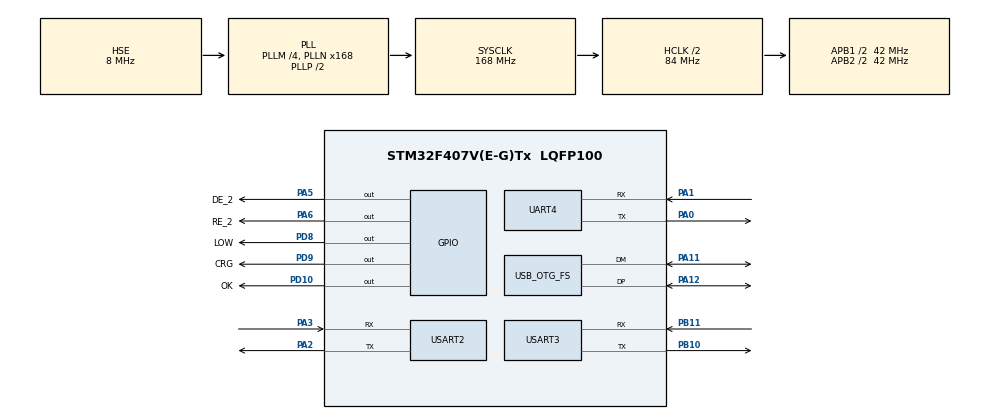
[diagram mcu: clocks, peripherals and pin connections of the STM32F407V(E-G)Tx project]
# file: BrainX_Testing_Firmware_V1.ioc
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Dma.Request0=UART4_RX
Dma.Request1=USART2_RX
Dma.UART4_RX.0.Direction=DMA_PERIPH_TO_MEMORY
Dma.UART4_RX.0.FIFOMode=DMA_FIFOMODE_DISABLE
Dma.UART4_RX.0.Instance=DMA1_Stream2
Dma.UART4_RX.0.MemDataAlignment=DMA_MDATAALIGN_BYTE
Dma.UART4_RX.0.MemInc=DMA_MINC_ENABLE
Dma.UART4_RX.0.Mode=DMA_NORMAL
Dma.UART4_RX.0.PeriphDataAlignment=DMA_PDATAALIGN_BYTE
Dma.UART4_RX.0.PeriphInc=DMA_PINC_DISABLE
Dma.UART4_RX.0.Priority=DMA_PRIORITY_LOW
Dma.USART2_RX.1.Direction=DMA_PERIPH_TO_MEMORY
Dma.USART2_RX.1.FIFOMode=DMA_FIFOMODE_DISABLE
Dma.USART2_RX.1.Instance=DMA1_Stream5
Dma.USART2_RX.1.MemDataAlignment=DMA_MDATAALIGN_BYTE
Dma.USART2_RX.1.MemInc=DMA_MINC_ENABLE
Dma.USART2_RX.1.Mode=DMA_NORMAL
Dma.USART2_RX.1.PeriphDataAlignment=DMA_PDATAALIGN_BYTE
Dma.USART2_RX.1.PeriphInc=DMA_PINC_DISABLE
Dma.USART2_RX.1.Priority=DMA_PRIORITY_LOW
Mcu.Family=STM32F4
Mcu.Name=STM32F407V(E-G)Tx
Mcu.Package=LQFP100
NVIC.DMA1_Stream2_IRQn=true\:0\:0\:false\:false\:true\:false\:true\:true
NVIC.DMA1_Stream5_IRQn=true\:0\:0\:false\:false\:true\:false\:true\:true
NVIC.OTG_FS_IRQn=true\:0\:0\:false\:false\:true\:false\:true\:true
NVIC.PriorityGroup=NVIC_PRIORITYGROUP_4
NVIC.TIM1_BRK_TIM9_IRQn=true\:0\:0\:false\:false\:true\:true\:true\:true
NVIC.TIM1_UP_TIM10_IRQn=true\:0\:0\:false\:false\:true\:true\:true\:true
NVIC.UART4_IRQn=true\:0\:0\:false\:false\:true\:true\:true\:true
PA0-WKUP.Mode=Asynchronous
PA0-WKUP.Signal=UART4_TX
PA1.Mode=Asynchronous
PA1.Signal=UART4_RX
PA11.Mode=Device_Only
PA11.Signal=USB_OTG_FS_DM
PA12.Mode=Device_Only
PA12.Signal=USB_OTG_FS_DP
PA13.Mode=Serial_Wire
PA13.Signal=SYS_JTMS-SWDIO
PA14.Mode=Serial_Wire
PA14.Signal=SYS_JTCK-SWCLK
PA2.Mode=Asynchronous
PA2.Signal=USART2_TX
PA3.Mode=Asynchronous
PA3.Signal=USART2_RX
PA5.GPIO_Label=DE_2
PA5.Signal=GPIO_Output
PA6.GPIO_Label=RE_2
PA6.PinState=GPIO_PIN_SET
PA6.Signal=GPIO_Output
PB10.Mode=Asynchronous
PB10.Signal=USART3_TX
PB11.Mode=Asynchronous
PB11.Signal=USART3_RX
PD10.GPIO_Label=OK
PD10.PinState=GPIO_PIN_SET
PD10.Signal=GPIO_Output
PD8.GPIO_Label=LOW
PD8.GPIO_ModeDefaultOutputPP=GPIO_MODE_OUTPUT_OD
PD8.GPIO_PuPd=GPIO_NOPULL
PD8.GPIO_Speed=GPIO_SPEED_FREQ_LOW
PD8.PinState=GPIO_PIN_SET
PD8.Signal=GPIO_Output
PD9.GPIO_Label=CRG
PD9.GPIO_ModeDefaultOutputPP=GPIO_MODE_OUTPUT_OD
PD9.GPIO_PuPd=GPIO_NOPULL
PD9.PinState=GPIO_PIN_SET
PD9.Signal=GPIO_Output
PH0-OSC_IN.Mode=HSE-External-Oscillator
PH0-OSC_IN.Signal=RCC_OSC_IN
PH1-OSC_OUT.Mode=HSE-External-Oscillator
PH1-OSC_OUT.Signal=RCC_OSC_OUT
ProjectManager.HeapSize=0x200
ProjectManager.StackSize=0x400
ProjectManager.TargetToolchain=STM32CubeIDE
RCC.48MHZClocksFreq_Value=48000000
RCC.AHBCLKDivider=RCC_SYSCLK_DIV2
RCC.AHBFreq_Value=84000000
RCC.APB1CLKDivider=RCC_HCLK_DIV2
RCC.APB1Freq_Value=42000000
RCC.APB1TimFreq_Value=84000000
RCC.APB2CLKDivider=RCC_HCLK_DIV2
RCC.APB2Freq_Value=42000000
RCC.APB2TimFreq_Value=84000000
RCC.CortexFreq_Value=84000000
RCC.HCLKFreq_Value=84000000
RCC.HSE_VALUE=8000000
RCC.HSI_VALUE=16000000
RCC.LSE_VALUE=32768
RCC.PLLM=4
RCC.PLLN=168
RCC.PLLQ=7
RCC.SYSCLKFreq_VALUE=168000000
RCC.SYSCLKSource=RCC_SYSCLKSOURCE_PLLCLK
RCC.VCOOutputFreq_Value=336000000
TIM1.Period=999
TIM1.Prescaler=83
UART4.VirtualMode=Asynchronous
USART2.VirtualMode=VM_ASYNC
USART3.VirtualMode=VM_ASYNC
USB_DEVICE.APP_RX_DATA_SIZE-CDC_FS=128
USB_DEVICE.APP_TX_DATA_SIZE-CDC_FS=128
USB_DEVICE.CLASS_NAME_FS=CDC
USB_DEVICE.MANUFACTURER_STRING-CDC_FS=STEAM for Vietnam
USB_DEVICE.PRODUCT_STRING_CDC_FS=S4V Robot Brain V1.0
USB_DEVICE.VirtualMode-CDC_FS=Cdc
USB_DEVICE.VirtualModeFS=Cdc_FS
USB_OTG_FS.VirtualMode=Device_Only
VP_TIM1_VS_ClockSourceINT.Mode=Internal
VP_USB_DEVICE_VS_USB_DEVICE_CDC_FS.Mode=CDC_FS
board=custom

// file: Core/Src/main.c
/* USER CODE BEGIN Header */
/**
  ******************************************************************************
  * @file           : main.c
  * @brief          : Main program body
  ******************************************************************************
  * @attention
  *
  * Copyright (c) 2026 STMicroelectronics.
  * All rights reserved.
  *
  * This software is licensed under terms that can be found in the LICENSE file
  * in the root directory of this software component.
  * If no LICENSE file comes with this software, it is provided AS-IS.
  *
  ******************************************************************************
  */
/* USER CODE END Header */
#include "main.h"
#include "dma.h"
#include "tim.h"
#include "usart.h"
#include "usb_device.h"
#include "gpio.h"

/* USER CODE BEGIN Includes */
#include <string.h>
#include <brainx_rs485.h>
#include <brainx_usbcdc.h>
#include <brainx_sys.h>
#include <eeprom_emul.h>
/* USER CODE END Includes */

/* USER CODE BEGIN PD */

RS485_Device powerManagementBoard;
RS485_Device imuSensorBoard;
RS485_Device tofSensorBoard;
RS485_Device bumperSensorBoard;

extern uint8_t usbcdcRxFlag;
extern uint8_t usbcdcRxOkFlag;
extern uint8_t dataContent;
extern uint8_t data;

extern BrainX_Power_Status brainxPowerStatus;

uint16_t VirtAddVarTab[NB_OF_VAR] = {0x0001};

uint16_t mt_id;

/* USER CODE END PD */

void SystemClock_Config(void);

/* USER CODE BEGIN 0 */
void BrainX_USBCDC_RxCallback();

/* USER CODE END 0 */

int main(void)
{

  /* MCU Configuration--------------------------------------------------------*/

  /* Reset of all peripherals, Initializes the Flash interface and the Systick. */
  HAL_Init();

  /* Configure the system clock */
  SystemClock_Config();

  /* Initialize all configured peripherals */
  MX_GPIO_Init();
  MX_DMA_Init();
  MX_USART2_UART_Init();
  MX_UART4_Init();
  MX_USB_DEVICE_Init();
  MX_USART3_UART_Init();
  MX_TIM1_Init();
  /* USER CODE BEGIN 2 */
  BrainX_RS485_Init(&powerManagementBoard, PWR_MNG_BOARD_ID, DE_2_GPIO_Port, DE_2_Pin, RE_2_GPIO_Port, RE_2_Pin);

  BrainX_RS485_RX_Enable(&powerManagementBoard);

  HAL_UARTEx_ReceiveToIdle_DMA(&huart2, powerManagementBoard.rxBuffer, (sizeof(powerManagementBoard.rxBuffer)/sizeof(powerManagementBoard.rxBuffer[0])));

  HAL_FLASH_Unlock();

  if(EE_Init() != EE_OK){
	  Error_Handler();
  }

  if(EE_ReadVariable(0x0001, &mt_id) != HAL_OK){
  	Error_Handler();
  }

  /* USER CODE END 2 */

  /* Infinite loop */
  while (1)
  {

    /* USER CODE BEGIN 3 */

	  BrainX_USBCDC_RxCallback();

	  if(brainxPowerStatus == LOW){
		  HAL_TIM_Base_Start_IT(&htim1);
	  }
	  else{
		  HAL_TIM_Base_Stop_IT(&htim1);
		  BrainX_DisplayLED();
	  }

  }
  /* USER CODE END 3 */
}

void SystemClock_Config(void)
{
  RCC_OscInitTypeDef RCC_OscInitStruct = {0};
  RCC_ClkInitTypeDef RCC_ClkInitStruct = {0};

  /** Configure the main internal regulator output voltage
  */
  __HAL_RCC_PWR_CLK_ENABLE();
  __HAL_PWR_VOLTAGESCALING_CONFIG(PWR_REGULATOR_VOLTAGE_SCALE1);

  /** Initializes the RCC Oscillators according to the specified parameters
  * in the RCC_OscInitTypeDef structure.
  */
  RCC_OscInitStruct.OscillatorType = RCC_OSCILLATORTYPE_HSE;
  RCC_OscInitStruct.HSEState = RCC_HSE_ON;
  RCC_OscInitStruct.PLL.PLLState = RCC_PLL_ON;
  RCC_OscInitStruct.PLL.PLLSource = RCC_PLLSOURCE_HSE;
  RCC_OscInitStruct.PLL.PLLM = 4;
  RCC_OscInitStruct.PLL.PLLN = 168;
  RCC_OscInitStruct.PLL.PLLP = RCC_PLLP_DIV2;
  RCC_OscInitStruct.PLL.PLLQ = 7;
  if (HAL_RCC_OscConfig(&RCC_OscInitStruct) != HAL_OK)
  {
    Error_Handler();
  }

  /** Initializes the CPU, AHB and APB buses clocks
  */
  RCC_ClkInitStruct.ClockType = RCC_CLOCKTYPE_HCLK|RCC_CLOCKTYPE_SYSCLK
                              |RCC_CLOCKTYPE_PCLK1|RCC_CLOCKTYPE_PCLK2;
  RCC_ClkInitStruct.SYSCLKSource = RCC_SYSCLKSOURCE_PLLCLK;
  RCC_ClkInitStruct.AHBCLKDivider = RCC_SYSCLK_DIV2;
  RCC_ClkInitStruct.APB1CLKDivider = RCC_HCLK_DIV2;
  RCC_ClkInitStruct.APB2CLKDivider = RCC_HCLK_DIV2;

  if (HAL_RCC_ClockConfig(&RCC_ClkInitStruct, FLASH_LATENCY_2) != HAL_OK)
  {
    Error_Handler();
  }
}

/* USER CODE BEGIN 4 */
void BrainX_USBCDC_RxCallback(){
	if(usbcdcRxFlag){
		BrainX_USBCDC_RX_ReceiveData();
		usbcdcRxFlag = 0;
	}

	if(usbcdcRxOkFlag){
		if(dataContent == PWR_STATUS_ID){
			switch(data){
				case 0x00:
					BrainX_UpdateSystemInfo(LOW);
					break;
				case 0x01:
					BrainX_UpdateSystemInfo(OK);
					break;
				case 0x02:
					BrainX_UpdateSystemInfo(CHARGING);
					break;
			}
		}
		else if(dataContent == MT_DRIVER_UNIQUE_BOARD_ID){
			if(EE_WriteVariable(0x0001, data) != HAL_OK){
				Error_Handler();
			}
			else{
				if(EE_ReadVariable(0x0001, &mt_id) != HAL_OK){
					Error_Handler();
				}

			}
			HAL_FLASH_Lock();
		}

		usbcdcRxOkFlag = 0;

	}
}

void HAL_UART_RxCpltCallback(UART_HandleTypeDef *huart){
	if (huart->Instance == USART2){
		BrainX_RS485_RX_ReceiveData(&powerManagementBoard);
		HAL_UARTEx_ReceiveToIdle_DMA(&huart2, powerManagementBoard.rxBuffer, 10);
	}
}

/* USER CODE END 4 */

void Error_Handler(void)
{
  __disable_irq();
  while (1)
  {
  }
}
